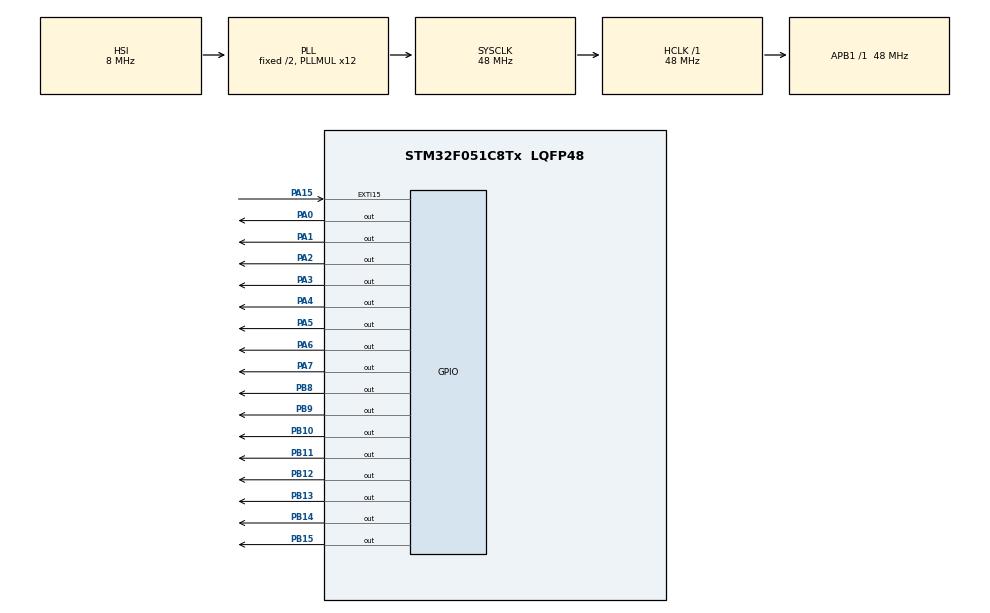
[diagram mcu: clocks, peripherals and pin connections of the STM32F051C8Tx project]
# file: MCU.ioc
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Mcu.Family=STM32F0
Mcu.Name=STM32F051C8Tx
Mcu.Package=LQFP48
NVIC.TIM3_IRQn=true\:0\:0\:false\:false\:true\:true
PA0.Signal=GPIO_Output
PA1.Signal=GPIO_Output
PA15.Signal=GPXTI15
PA2.Signal=GPIO_Output
PA3.Signal=GPIO_Output
PA4.Signal=GPIO_Output
PA5.Signal=GPIO_Output
PA6.Signal=GPIO_Output
PA7.Signal=GPIO_Output
PB10.Signal=GPIO_Output
PB11.Signal=GPIO_Output
PB12.Signal=GPIO_Output
PB13.Signal=GPIO_Output
PB14.Signal=GPIO_Output
PB15.Signal=GPIO_Output
PB8.Signal=GPIO_Output
PB9.Signal=GPIO_Output
ProjectManager.HeapSize=0x200
ProjectManager.StackSize=0x400
ProjectManager.TargetToolchain=TrueSTUDIO
RCC.AHBFreq_Value=48000000
RCC.APB1Freq_Value=48000000
RCC.APB1TimFreq_Value=48000000
RCC.HCLKFreq_Value=48000000
RCC.PLLMUL=RCC_PLL_MUL12
RCC.SYSCLKFreq_VALUE=48000000
RCC.SYSCLKSource=RCC_SYSCLKSOURCE_PLLCLK
TIM3.Period=16559
VP_TIM3_VS_ClockSourceINT.Mode=Internal
board=MCU

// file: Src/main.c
/**
  ******************************************************************************
  * @file           : main.c
  * @brief          : Main program body
  ******************************************************************************
  ** This notice applies to any and all portions of this file
  * that are not between comment pairs USER CODE BEGIN and
  * USER CODE END. Other portions of this file, whether
  * inserted by the user or by software development tools
  * are owned by their respective copyright owners.
  *
  * COPYRIGHT(c) 2020 STMicroelectronics
  *
  * Redistribution and use in source and binary forms, with or without modification,
  * are permitted provided that the following conditions are met:
  *   1. Redistributions of source code must retain the above copyright notice,
  *      this list of conditions and the following disclaimer.
  *   2. Redistributions in binary form must reproduce the above copyright notice,
  *      this list of conditions and the following disclaimer in the documentation
  *      and/or other materials provided with the distribution.
  *   3. Neither the name of STMicroelectronics nor the names of its contributors
  *      may be used to endorse or promote products derived from this software
  *      without specific prior written permission.
  *
  * THIS SOFTWARE IS PROVIDED BY THE COPYRIGHT HOLDERS AND CONTRIBUTORS "AS IS"
  * AND ANY EXPRESS OR IMPLIED WARRANTIES, INCLUDING, BUT NOT LIMITED TO, THE
  * IMPLIED WARRANTIES OF MERCHANTABILITY AND FITNESS FOR A PARTICULAR PURPOSE ARE
  * DISCLAIMED. IN NO EVENT SHALL THE COPYRIGHT HOLDER OR CONTRIBUTORS BE LIABLE
  * FOR ANY DIRECT, INDIRECT, INCIDENTAL, SPECIAL, EXEMPLARY, OR CONSEQUENTIAL
  * DAMAGES (INCLUDING, BUT NOT LIMITED TO, PROCUREMENT OF SUBSTITUTE GOODS OR
  * SERVICES; LOSS OF USE, DATA, OR PROFITS; OR BUSINESS INTERRUPTION) HOWEVER
  * CAUSED AND ON ANY THEORY OF LIABILITY, WHETHER IN CONTRACT, STRICT LIABILITY,
  * OR TORT (INCLUDING NEGLIGENCE OR OTHERWISE) ARISING IN ANY WAY OUT OF THE USE
  * OF THIS SOFTWARE, EVEN IF ADVISED OF THE POSSIBILITY OF SUCH DAMAGE.
  *
  ******************************************************************************
  */
#include "main.h"
#include "stm32f0xx_hal.h"

TIM_HandleTypeDef htim3;

/* USER CODE BEGIN PV */
/* Private variables ---------------------------------------------------------*/
volatile unsigned int flag_tim3=0;
volatile unsigned int flag=0;
volatile unsigned int j;
static unsigned char Motif_Afficheur [180]={
	0xFF,0xFF,0xFF,0xFF,0xFF,0xFF,
	0x80,0xF6,0xF6,0xF6,0xF9,0xFF,    //P
	0x80,0xBE,0xBE,0xBE,0x80,0xFF,    //O
	0x80,0xBF,0xBF,0xBF,0xBF,0xFF,    //L
	0xFE,0xFD,0x83,0xFD,0xFE,0xFF,    //Y
	0xFE,0xFE,0x80,0xFE,0xFE,0xFF,    //T
	0x80,0xB6,0xB6,0xBE,0xBE,0xFF,    //E
	0x80,0xBE,0xBE,0xBE,0xBE,0xFF,    //C
	0x80,0xF7,0xF7,0xF7,0x80,0xFF,    //H
	0xFF,0xFF,0xFF,0xFF,0xFF,0xFF,
	0xFF,0xFF,0xFF,0xFF,0xFF,0xFF,
	0xFF,0xFF,0xFF,0xFF,0xFF,0xFF,
	0xFF,0xFF,0xFF,0xFF,0xFF,0xFF,
	0x80,0xF6,0xF6,0xF6,0x80,0xFF,
	0x80,0xF9,0xF7,0xCF,0x80,0xFF,
	0xFE,0xFE,0x80,0xFE,0xFE,0xFF,
	0x80,0xF7,0xF7,0xF7,0x80,0xFF,
	0x80,0xBE,0xBE,0xBE,0x80,0xFF,
	0x80,0xF9,0xF7,0xCF,0x80,0xFF,
	0xFF,0xBE,0x80,0xBE,0xFF,0xFF,
	0x80,0xBE,0xBE,0xBE,0x80,0xFF,
	0xFF,0xFF,0xFF,0xFF,0xFF,0xFF,
	0xFF,0xFF,0xFF,0xFF,0xFF,0xFF,
	0xFF,0xFF,0xFF,0xFF,0xFF,0xFF,
	0xFF,0xFF,0xFF,0xFF,0xFF,0xFF,
	0x80,0xBE,0xB6,0xBE,0x80,0xFF,
	0x80,0xBE,0xB6,0xBE,0x80,0xFF,
	0xFF,0xFF,0xFF,0xFF,0xFF,0xFF,
	0xFF,0xFF,0xFF,0xFF,0xFF,0xFF,
	0xFF,0xFF,0xFF,0xFF,0xFF,0XFF
	};
/* USER CODE END PV */

void SystemClock_Config(void);
static void MX_GPIO_Init(void);
static void MX_TIM3_Init(void);

/* USER CODE BEGIN PFP */
/* Private function prototypes -----------------------------------------------*/

/* USER CODE END PFP */

int main(void)
{

  /* MCU Configuration----------------------------------------------------------*/

  /* Reset of all peripherals, Initializes the Flash interface and the Systick. */
  HAL_Init();

  /* Configure the system clock */
  SystemClock_Config();

  /* Initialize all configured peripherals */
  MX_GPIO_Init();
  MX_TIM3_Init();
  /* USER CODE BEGIN 2 */
  HAL_TIM_Base_Start_IT(&htim3);
  /* USER CODE END 2 */

  /* Infinite loop */
  while (1)
  {

  /* USER CODE BEGIN 3 */
	  if(flag==1)
	  {

		  flag=0;

		                    if(flag_tim3 ==1)
		                    {
		                      flag_tim3=0;
		                      GPIOA->ODR &=Motif_Afficheur[j];
		                      GPIOB->ODR = ~0xFF<<8;
		                      GPIOA->ODR |=Motif_Afficheur[160];
		                      GPIOB->ODR = ~0xFF<<8;
		                      j++;
		                    }

		  j=0;

	  }
  }
  /* USER CODE END 3 */

}

void SystemClock_Config(void)
{

  RCC_OscInitTypeDef RCC_OscInitStruct;
  RCC_ClkInitTypeDef RCC_ClkInitStruct;

    /**Initializes the CPU, AHB and APB busses clocks
    */
  RCC_OscInitStruct.OscillatorType = RCC_OSCILLATORTYPE_HSI;
  RCC_OscInitStruct.HSIState = RCC_HSI_ON;
  RCC_OscInitStruct.HSICalibrationValue = 16;
  RCC_OscInitStruct.PLL.PLLState = RCC_PLL_ON;
  RCC_OscInitStruct.PLL.PLLSource = RCC_PLLSOURCE_HSI;
  RCC_OscInitStruct.PLL.PLLMUL = RCC_PLL_MUL12;
  RCC_OscInitStruct.PLL.PREDIV = RCC_PREDIV_DIV1;
  if (HAL_RCC_OscConfig(&RCC_OscInitStruct) != HAL_OK)
  {
    _Error_Handler(__FILE__, __LINE__);
  }

    /**Initializes the CPU, AHB and APB busses clocks
    */
  RCC_ClkInitStruct.ClockType = RCC_CLOCKTYPE_HCLK|RCC_CLOCKTYPE_SYSCLK
                              |RCC_CLOCKTYPE_PCLK1;
  RCC_ClkInitStruct.SYSCLKSource = RCC_SYSCLKSOURCE_PLLCLK;
  RCC_ClkInitStruct.AHBCLKDivider = RCC_SYSCLK_DIV1;
  RCC_ClkInitStruct.APB1CLKDivider = RCC_HCLK_DIV1;

  if (HAL_RCC_ClockConfig(&RCC_ClkInitStruct, FLASH_LATENCY_1) != HAL_OK)
  {
    _Error_Handler(__FILE__, __LINE__);
  }

    /**Configure the Systick interrupt time
    */
  HAL_SYSTICK_Config(HAL_RCC_GetHCLKFreq()/1000);

    /**Configure the Systick
    */
  HAL_SYSTICK_CLKSourceConfig(SYSTICK_CLKSOURCE_HCLK);

  /* SysTick_IRQn interrupt configuration */
  HAL_NVIC_SetPriority(SysTick_IRQn, 0, 0);
}

/* TIM3 init function */
static void MX_TIM3_Init(void)
{

  TIM_ClockConfigTypeDef sClockSourceConfig;
  TIM_MasterConfigTypeDef sMasterConfig;

  htim3.Instance = TIM3;
  htim3.Init.Prescaler = 0;
  htim3.Init.CounterMode = TIM_COUNTERMODE_UP;
  htim3.Init.Period = 16559;
  htim3.Init.ClockDivision = TIM_CLOCKDIVISION_DIV1;
  htim3.Init.AutoReloadPreload = TIM_AUTORELOAD_PRELOAD_DISABLE;
  if (HAL_TIM_Base_Init(&htim3) != HAL_OK)
  {
    _Error_Handler(__FILE__, __LINE__);
  }

  sClockSourceConfig.ClockSource = TIM_CLOCKSOURCE_INTERNAL;
  if (HAL_TIM_ConfigClockSource(&htim3, &sClockSourceConfig) != HAL_OK)
  {
    _Error_Handler(__FILE__, __LINE__);
  }

  sMasterConfig.MasterOutputTrigger = TIM_TRGO_RESET;
  sMasterConfig.MasterSlaveMode = TIM_MASTERSLAVEMODE_DISABLE;
  if (HAL_TIMEx_MasterConfigSynchronization(&htim3, &sMasterConfig) != HAL_OK)
  {
    _Error_Handler(__FILE__, __LINE__);
  }

}

/** Configure pins as
        * Analog
        * Input
        * Output
        * EVENT_OUT
        * EXTI
*/
static void MX_GPIO_Init(void)
{

  GPIO_InitTypeDef GPIO_InitStruct;

  /* GPIO Ports Clock Enable */
  __HAL_RCC_GPIOA_CLK_ENABLE();
  __HAL_RCC_GPIOB_CLK_ENABLE();

  /*Configure GPIO pin Output Level */
  HAL_GPIO_WritePin(GPIOA, GPIO_PIN_0|GPIO_PIN_1|GPIO_PIN_2|GPIO_PIN_3
                          |GPIO_PIN_4|GPIO_PIN_5|GPIO_PIN_6|GPIO_PIN_7, GPIO_PIN_RESET);

  /*Configure GPIO pin Output Level */
  HAL_GPIO_WritePin(GPIOB, GPIO_PIN_10|GPIO_PIN_11|GPIO_PIN_12|GPIO_PIN_13
                          |GPIO_PIN_14|GPIO_PIN_15|GPIO_PIN_8|GPIO_PIN_9, GPIO_PIN_RESET);

  /*Configure GPIO pins : PA0 PA1 PA2 PA3
                           PA4 PA5 PA6 PA7 */
  GPIO_InitStruct.Pin = GPIO_PIN_0|GPIO_PIN_1|GPIO_PIN_2|GPIO_PIN_3
                          |GPIO_PIN_4|GPIO_PIN_5|GPIO_PIN_6|GPIO_PIN_7;
  GPIO_InitStruct.Mode = GPIO_MODE_OUTPUT_PP;
  GPIO_InitStruct.Pull = GPIO_NOPULL;
  GPIO_InitStruct.Speed = GPIO_SPEED_FREQ_LOW;
  HAL_GPIO_Init(GPIOA, &GPIO_InitStruct);

  /*Configure GPIO pins : PB10 PB11 PB12 PB13
                           PB14 PB15 PB8 PB9 */
  GPIO_InitStruct.Pin = GPIO_PIN_10|GPIO_PIN_11|GPIO_PIN_12|GPIO_PIN_13
                          |GPIO_PIN_14|GPIO_PIN_15|GPIO_PIN_8|GPIO_PIN_9;
  GPIO_InitStruct.Mode = GPIO_MODE_OUTPUT_PP;
  GPIO_InitStruct.Pull = GPIO_NOPULL;
  GPIO_InitStruct.Speed = GPIO_SPEED_FREQ_LOW;
  HAL_GPIO_Init(GPIOB, &GPIO_InitStruct);

  /*Configure GPIO pin : PA15 */
  GPIO_InitStruct.Pin = GPIO_PIN_15;
  GPIO_InitStruct.Mode = GPIO_MODE_IT_RISING;
  GPIO_InitStruct.Pull = GPIO_NOPULL;
  HAL_GPIO_Init(GPIOA, &GPIO_InitStruct);

}

/* USER CODE BEGIN 4 */
void HAL_TIM_PeriodElapsedCallback(TIM_HandleTypeDef *htim)
{
	if(htim->Instance==TIM3)
	{
       flag_tim3=1;
	}
}

void HAL_GPIO_EXTI_Callback(uint16_t GPIO_Pin)
{
	 if(GPIO_Pin == GPIO_PIN_15)   // Si c'est la patte 15 (PA13) qui a demandИ interruption
   {
    /* Code a executИ */
    flag=1;
   }

}
/* USER CODE END 4 */

void _Error_Handler(char *file, int line)
{
  while(1)
  {
  }
}

/************************ (C) COPYRIGHT STMicroelectronics *****END OF FILE****/
